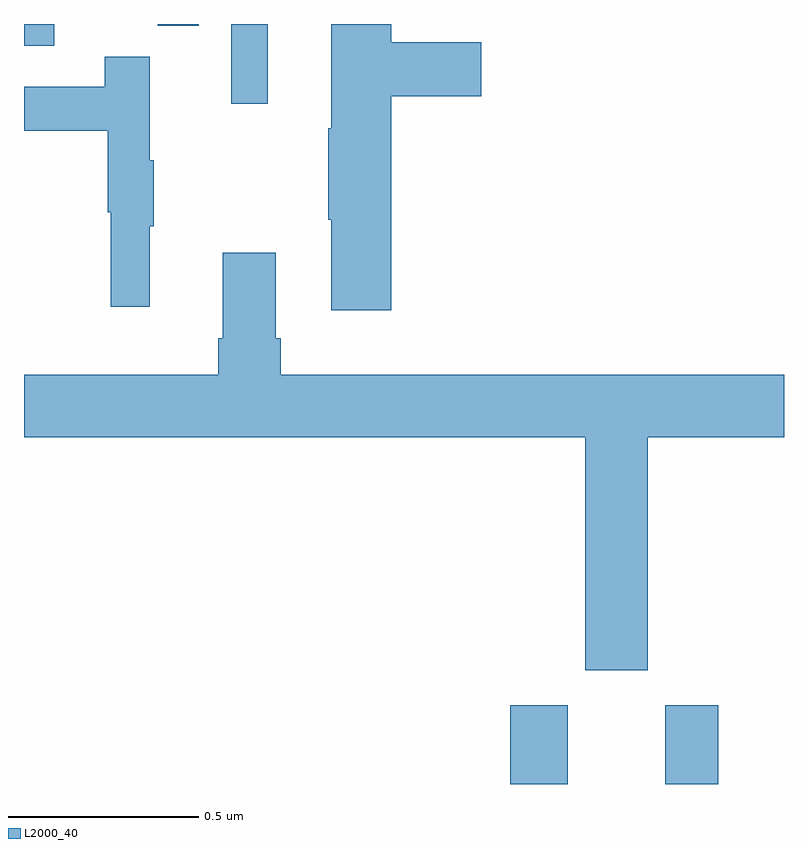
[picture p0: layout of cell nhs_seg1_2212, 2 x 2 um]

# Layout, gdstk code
import gdstk
lib = gdstk.Library(unit=1e-6, precision=1e-09)
def R(c, l, rs):  # rectangles x0, y0, x1, y1
    for r in rs: c.add(gdstk.rectangle(r[:2], r[2:], *l))
def P(c, l, *ps):  # polygons
    for p in ps: c.add(gdstk.Polygon(p, *l))
L2000_40 = (2000, 40)

nhs_seg1_2212 = lib.new_cell('nhs_seg1_2212')
R(nhs_seg1_2212, L2000_40, [(140.279,504.199,140.431,504.406), (140.687,504.199,140.827,504.406), (139.545,505.989,139.642,506.199), (139,506.142,139.08,506.199), (139.352,506.194,139.46,506.199)])
P(nhs_seg1_2212, L2000_40, [(139.967,506.009),(140.203,506.009),(140.203,506.151),(139.967,506.151),(139.967,506.199),(139.808,506.199),(139.808,505.925),(139.801,505.925),(139.801,505.684),(139.808,505.684),(139.808,505.446),(139.967,505.446)],
  [(139.331,505.667),(139.342,505.667),(139.342,505.841),(139.331,505.841),(139.331,506.113),(139.213,506.113),(139.213,506.034),(139,506.034),(139,505.918),(139.221,505.918),(139.221,505.704),(139.228,505.704),(139.228,505.455),(139.331,505.455)],
  [(140.641,505.112),(141,505.112),(141,505.276),(139.676,505.276),(139.676,505.372),(139.663,505.372),(139.663,505.597),(139.523,505.597),(139.523,505.372),(139.511,505.372),(139.511,505.276),(139,505.276),(139,505.112),(140.477,505.112),(140.477,504.498),(140.641,504.498)])

lib.write_gds('nhs_seg1_2212.gds')
